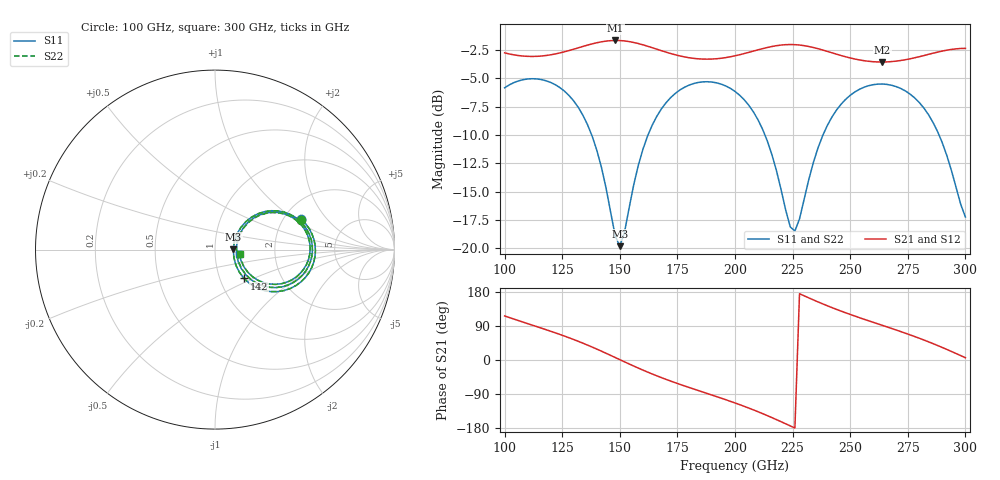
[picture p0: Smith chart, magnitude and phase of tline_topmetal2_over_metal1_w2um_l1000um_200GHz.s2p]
#  GHZ S DB R 50
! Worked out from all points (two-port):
!   101 points, 100 GHz to 300 GHz, reference 50 ohm
!   highest |S21| = -1.67 dB at 148 GHz (marker M1); lowest = -3.6 dB at 264 GHz (marker M2)
!   |S21| within 3 dB of the highest: start of sweep to end of sweep
!   lowest |S11| = -19.8 dB at 150 GHz (marker M3), VSWR 1.23, Z = 61.4 + j0.136 ohm
!   |S11| at or under -10 dB: 137.8 GHz to 162.3 GHz (24.48 GHz wide, 16.3 % of centre); 213 GHz to 238.2 GHz (25.23 GHz wide, 11.2 % of centre); 288.5 GHz to end of sweep
!   |S22| runs from -19.8 to -5.0 dB; largest |S21 - S12| = 8.8e-14
!   S11 on the Smith chart (normalised r, x): 100 GHz: 2.49, +1.13; 142 GHz: 1.30, -0.44; 300 GHz: 1.31, -0.06
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100  -5.84 19.2  -2.76 116.2  -2.76 116.2  -5.84 19.2
116  -5.12 -7.3  -3.04 84.0  -3.04 84.0  -5.12 -7.3
126  -6.14 -24.0  -2.67 63.1  -2.67 63.1  -6.14 -24.0
134  -8.27 -37.2  -2.20 44.3  -2.20 44.3  -8.27 -37.3
142  -12.83 -44.8  -1.79 23.4  -1.79 23.4  -12.83 -44.8
148  -18.90 -22.4  -1.67 6.6  -1.67 6.6  -18.90 -22.4
150  -19.81 0.6  -1.68 0.9  -1.68 0.9  -19.81 0.6
160  -11.29 41.6  -2.05 -26.5  -2.05 -26.5  -11.29 41.6
168  -7.72 31.6  -2.57 -46.3  -2.57 -46.3  -7.72 31.6
184  -5.37 5.9  -3.29 -80.5  -3.29 -80.5  -5.37 6.0
200  -6.16 -19.6  -3.02 -113.4  -3.02 -113.4  -6.16 -19.5
212  -9.51 -37.2  -2.39 -141.6  -2.39 -141.6  -9.50 -37.0
224  -18.12 -14.0  -2.03 -173.9  -2.03 -173.9  -17.98 -13.8
228  -17.40 22.1  -2.07 174.9  -2.07 174.9  -17.28 21.7
234  -12.44 39.5  -2.29 158.6  -2.29 158.6  -12.40 39.0
246  -7.30 27.7  -2.99 129.1  -2.99 129.1  -7.29 27.4
264  -5.51 0.0  -3.57 91.3  -3.57 91.3  -5.51 -0.2
268  -5.62 -6.1  -3.53 83.2  -3.53 83.2  -5.62 -6.3
278  -6.74 -21.4  -3.20 61.9  -3.20 61.9  -6.73 -21.5
286  -8.91 -32.3  -2.79 43.1  -2.79 43.1  -8.90 -32.4
294  -13.18 -34.5  -2.46 22.4  -2.46 22.4  -13.15 -34.4
300  -17.23 -9.6  -2.37 6.0  -2.37 6.0  -17.14 -9.7
